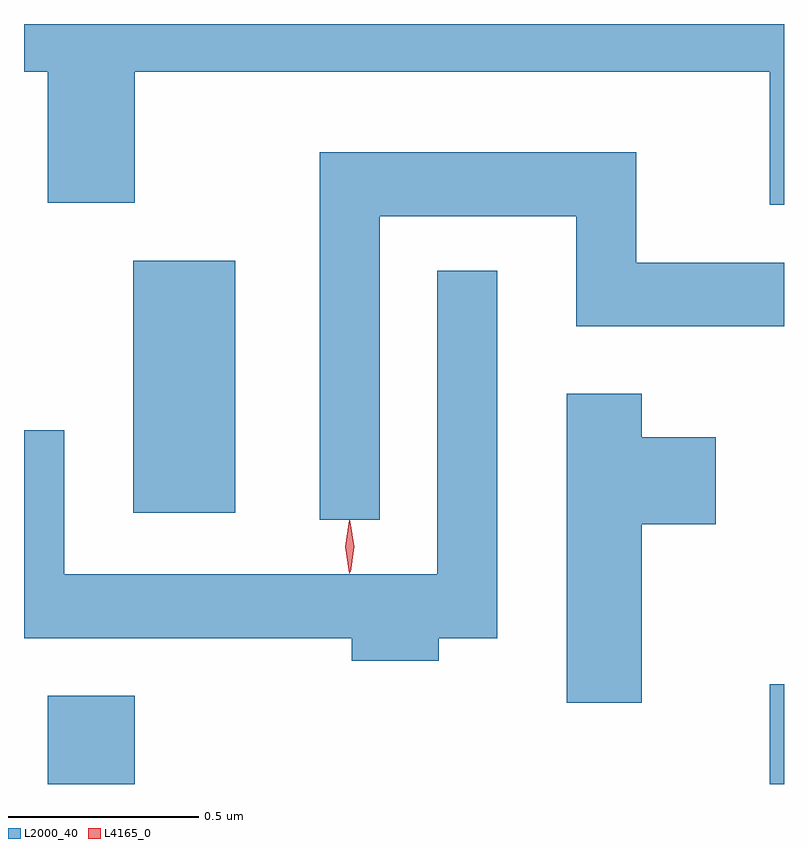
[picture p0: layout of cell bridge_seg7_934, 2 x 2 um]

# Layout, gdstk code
import gdstk
lib = gdstk.Library(unit=1e-6, precision=1e-09)
def R(c, l, rs):  # rectangles x0, y0, x1, y1
    for r in rs: c.add(gdstk.rectangle(r[:2], r[2:], *l))
def P(c, l, *ps):  # polygons
    for p in ps: c.add(gdstk.Polygon(p, *l))
L2000_40 = (2000, 40)
L4165_0 = (4165, 0)

bridge_seg7_934 = lib.new_cell('bridge_seg7_934')
R(bridge_seg7_934, L2000_40, [(423.351,1712.442,423.579,1712.674), (425.251,1712.442,425.288,1712.704), (423.576,1713.156,423.844,1713.819)])
P(bridge_seg7_934, L2000_40, [(425.288,1714.442),(423.288,1714.442),(423.288,1714.316),(423.351,1714.316),(423.351,1713.971),(423.579,1713.971),(423.579,1714.316),(425.251,1714.316),(425.251,1713.966),(425.288,1713.966)],
  [(424.224,1713.936),(424.741,1713.936),(424.741,1713.646),(425.288,1713.646),(425.288,1713.814),(424.899,1713.814),(424.899,1714.104),(424.066,1714.104),(424.066,1713.138),(424.224,1713.138)],
  [(424.379,1712.826),(424.534,1712.826),(424.534,1713.793),(424.376,1713.793),(424.376,1712.994),(423.394,1712.994),(423.394,1713.373),(423.288,1713.373),(423.288,1712.826),(424.151,1712.826),(424.151,1712.766),(424.379,1712.766)],
  [(424.914,1713.126),(425.109,1713.126),(425.109,1713.354),(424.914,1713.354),(424.914,1713.469),(424.716,1713.469),(424.716,1712.656),(424.914,1712.656)])
P(bridge_seg7_934, L4165_0, [(424.144,1712.997),(424.144,1712.997),(424.134,1713.066),(424.144,1713.136),(424.144,1713.136),(424.145,1713.136),(424.154,1713.066),(424.145,1712.997)],
  [(424.146,1713),(424.137,1713.066),(424.146,1713.132),(424.146,1713.133),(424.147,1713.132),(424.157,1713.066),(424.148,1713),(424.147,1713)])

lib.write_gds('bridge_seg7_934.gds')
